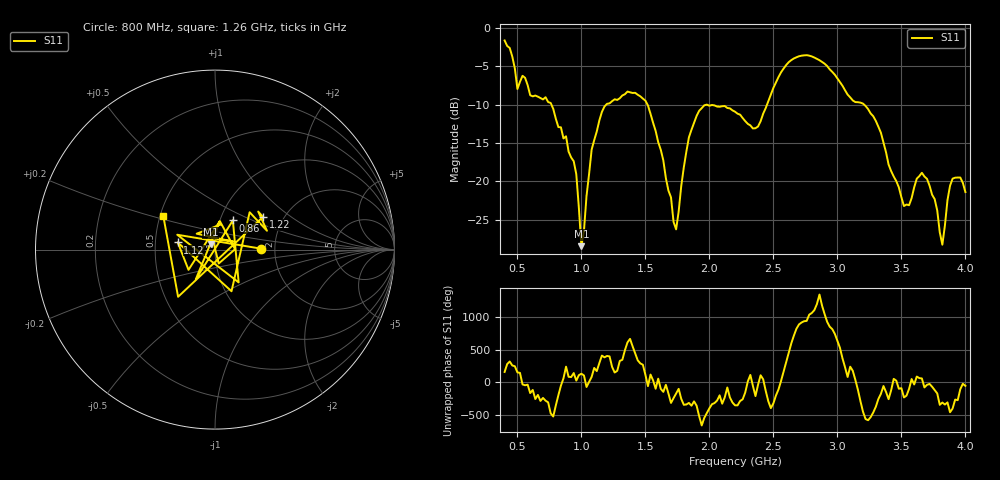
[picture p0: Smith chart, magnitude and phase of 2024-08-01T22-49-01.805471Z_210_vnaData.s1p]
!Created with skrf (http://scikit-rf.org).
# Hz S RI R 50.0
!freq ReS11 ImS11
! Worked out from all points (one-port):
!   181 points, 400 MHz to 4 GHz, reference 50 ohm
!   lowest |S11| = -28.5 dB at 1 GHz (marker M1), VSWR 1.08, Z = 47.6 + j2.81 ohm
!   |S11| at or under -10 dB: 1.517 GHz to 1.976 GHz (458.6 MHz wide, 26.3 % of centre); 1.983 GHz to 2.45 GHz (466.9 MHz wide, 21.1 % of centre); 3.21 GHz to end of sweep (the widest 3 of 4)
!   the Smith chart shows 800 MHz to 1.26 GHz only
!   S11 on the Smith chart (normalised r, x): 800 MHz: 1.69, +0.02; 860 MHz: 1.15, +0.39; 1.12 GHz: 0.65, +0.05; 1.22 GHz: 1.57, +0.64; 1.26 GHz: 0.52, +0.22
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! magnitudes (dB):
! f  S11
! 400 MHz  -1.6
! 500 MHz  -7.9
! 540 MHz  -6.2
! 800 MHz  -11.8
! 860 MHz  -14.4
! 960 MHz  -19.1
! 1 GHz  -28.5
! 1.08 GHz  -15.8
! 1.12 GHz  -13.5
! 1.22 GHz  -9.8
! 1.26 GHz  -9.3
! 1.3 GHz  -9.1
! 1.52 GHz  -10.1
! 1.72 GHz  -25.3
! 1.76 GHz  -23.9
! 1.84 GHz  -14.2
! 1.92 GHz  -10.8
! 2.2 GHz  -10.9
! 2.38 GHz  -12.8
! 2.66 GHz  -4.0
! 2.9 GHz  -4.6
! 3.1 GHz  -9.0
! 3.3 GHz  -12.1
! 3.56 GHz  -23.1
! 3.7 GHz  -19.7
! 3.82 GHz  -28.3
! 3.9 GHz  -19.6
! 4 GHz  -21.4
